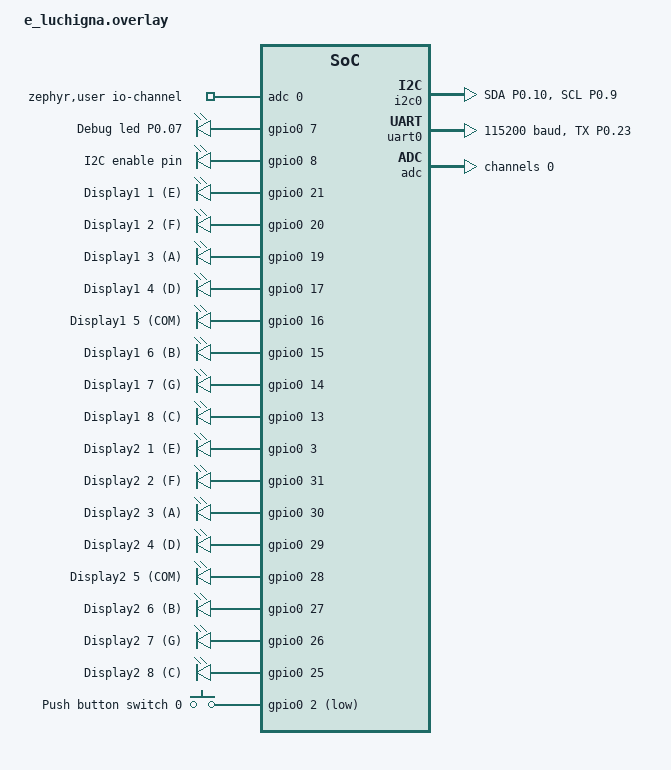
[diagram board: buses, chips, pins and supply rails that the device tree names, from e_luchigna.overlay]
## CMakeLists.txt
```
cmake_minimum_required(VERSION 3.20.0)
find_package(Zephyr REQUIRED HINTS $ENV{ZEPHYR_BASE})

project(gwen-test)

target_sources(app PRIVATE src/main.c)

target_sources(app PRIVATE src/screen.c)
target_sources(app PRIVATE src/button.c)
target_sources(app PRIVATE src/utils.c)

target_include_directories(app PRIVATE src)
```

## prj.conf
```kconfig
# Power management
CONFIG_PM_DEVICE=y

#ADC
CONFIG_ADC=y
CONFIG_ADC_NRFX_SAADC=y

# Pin configs
CONFIG_GPIO=y

# Sensors
CONFIG_I2C=y
CONFIG_SENSOR=y

# enable uart driver / console / log
CONFIG_SERIAL=y
CONFIG_LOG=y
CONFIG_LOG_MODE_IMMEDIATE=y
CONFIG_CONSOLE=y
CONFIG_PINCTRL=y #also needed for i2c etc

# added for uart to function properly
CONFIG_GPIO_AS_PINRESET=y
CONFIG_NFCT_PINS_AS_GPIOS=y
CONFIG_UART_CONSOLE=y
# things needed in prevoius projects
CONFIG_SYSTEM_CLOCK_WAIT_FOR_AVAILABILITY=y


# BLE confs
CONFIG_BT=y
CONFIG_BT_DEBUG_LOG=n
#CONFIG_BT_DEVICE_NAME="Ligna Card 1"
#CONFIG_BT_DEVICE_NAME="SPU 1"
#CONFIG_BT_DEVICE_NAME="Gwen testerzz"
CONFIG_BT_DEVICE_NAME="E-luchigna"
```

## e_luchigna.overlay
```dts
/ {
	zephyr,user {
		io-channels = <&adc 0>;
	};

    chosen {
		zephyr,console = &uart0;
    };


	gpo{
        compatible = "gpio-leds";

        led0: led_0 {
			gpios= <&gpio0 7 GPIO_ACTIVE_HIGH>; // GPIO_ACTIVE_LOW in blinky example
			label= "Debug led P0.07";
		};
		tmpon: tmp_on {
			gpios= <&gpio0 8 GPIO_ACTIVE_HIGH>; 
			label= "I2C enable pin";
		};

		display_11: display_11{
			gpios= <&gpio0 21 GPIO_ACTIVE_HIGH>;
			label= "Display1 1 (E)";
		};
		display_12: display_12{
			gpios= <&gpio0 20 GPIO_ACTIVE_HIGH>;
			label= "Display1 2 (F)";
		};
		display_13: display_13{
			gpios= <&gpio0 19 GPIO_ACTIVE_HIGH>;
			label= "Display1 3 (A)";
		};
		display_14: display_14{
			gpios= <&gpio0 17 GPIO_ACTIVE_HIGH>;
			label= "Display1 4 (D)";
		};
		display_15: display_15{
			gpios= <&gpio0 16 GPIO_ACTIVE_HIGH>;
			label= "Display1 5 (COM)";
		};
		display_16: display_16{
			gpios= <&gpio0 15 GPIO_ACTIVE_HIGH>;
			label= "Display1 6 (B)";
		};
		display_17: display_17{
			gpios= <&gpio0 14 GPIO_ACTIVE_HIGH>;
			label= "Display1 7 (G)";
		};
		display_18: display_18{
			gpios= <&gpio0 13 GPIO_ACTIVE_HIGH>;
			label= "Display1 8 (C)";
		};
		display_21: display_21{
			gpios= <&gpio0 3 GPIO_ACTIVE_HIGH>;
			label= "Display2 1 (E)";
		};
		display_22: display_22{
			gpios= <&gpio0 31 GPIO_ACTIVE_HIGH>;
			label= "Display2 2 (F)";
		};
		display_23: display_23{
			gpios= <&gpio0 30 GPIO_ACTIVE_HIGH>;
			label= "Display2 3 (A)";
		};
		display_24: display_24{
			gpios= <&gpio0 29 GPIO_ACTIVE_HIGH>;
			label= "Display2 4 (D)";
		};
		display_25: display_25{
			gpios= <&gpio0 28 GPIO_ACTIVE_HIGH>;
			label= "Display2 5 (COM)";
		};
		display_26: display_26{
			gpios= <&gpio0 27 GPIO_ACTIVE_HIGH>;
			label= "Display2 6 (B)";
		};
		display_27: display_27{
			gpios= <&gpio0 26 GPIO_ACTIVE_HIGH>;
			label= "Display2 7 (G)";
		};
		display_28: display_28{
			gpios= <&gpio0 25 GPIO_ACTIVE_HIGH>;
			label= "Display2 8 (C)";
		};

    };

	gpi{
		compatible = "gpio-keys";
		button0: button_0 {
			gpios = < &gpio0 2 (GPIO_PULL_UP | GPIO_ACTIVE_LOW)>;
			label = "Push button switch 0";
		};
	};
};



&gpio0 {
    status  = "okay";
};

&gpiote {
    status = "okay";
};


&i2c0 {
	pinctrl-0 = <&i2c0_default>;
	pinctrl-1 = <&i2c0_sleep>;
	pinctrl-names = "default", "sleep";
};

&uart0 {
    status = "okay";
    current-speed = < 0x1c200 >;
    pinctrl-0 = < &uart0_default >;
    pinctrl-1 = < &uart0_sleep >;
    pinctrl-names = "default", "sleep";
};

&pinctrl {    
	status = "okay";
    i2c0_default: i2c0_default {
		group1 {
			psels = <NRF_PSEL(TWIM_SDA, 0, 10)>,
					<NRF_PSEL(TWIM_SCL, 0, 9)>;
		};
	};

	i2c0_sleep: i2c0_sleep {
		group1 {
			psels = <NRF_PSEL(TWIM_SDA, 0, 10)>,
					<NRF_PSEL(TWIM_SCL, 0, 9)>;
			low-power-enable;
		};
	};

	uart0_default: uart0_default {
		group1 {
			psels = <NRF_PSEL(UART_TX, 0, 23)>;
				//<NRF_PSEL(UART_RX, 0, xx)>,
				//<NRF_PSEL(UART_RTS, 0, xx)>,
				//<NRF_PSEL(UART_CTS, 0, xx)>;
		};
	};

	uart0_sleep: uart0_sleep {
		group1 {
			psels = <NRF_PSEL(UART_TX, 0, 23)>;
				//<NRF_PSEL(UART_RX, 0, xx)>,
				//<NRF_PSEL(UART_RTS, 0, xx)>,
				//<NRF_PSEL(UART_CTS, 0, xx)>;
			low-power-enable;
		};
	};
};

&adc {
	#address-cells = <1>;
	#size-cells = <0>;
	channel@0 {
		reg = <0>;
		zephyr,gain = "ADC_GAIN_1_6";
		zephyr,reference = "ADC_REF_INTERNAL";
		zephyr,acquisition-time = <ADC_ACQ_TIME_DEFAULT>;
		zephyr,input-positive = <NRF_SAADC_AIN3>;
		zephyr,resolution = <10>;
		zephyr,oversampling = <0>;
	};
    status = "okay";
};
```

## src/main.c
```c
/*
* Gwen application with ADC + SHT4x + BLE + UART logging
*/

#include <zephyr/kernel.h>
#include <zephyr/drivers/gpio.h>
#include <zephyr/drivers/uart.h>
#include <zephyr/bluetooth/bluetooth.h>
#include <zephyr/bluetooth/hci.h>
#include <zephyr/pm/pm.h>
#include <zephyr/pm/device.h>
#include <zephyr/logging/log.h>
#include <zephyr/drivers/adc.h>
#include <zephyr/devicetree.h>
#include <zephyr/drivers/sensor/sht4x.h>
#include <zephyr/drivers/sensor.h>
#include <stdio.h>
#include "screen.h"
#include "button.h"
#include "utils.h"

LOG_MODULE_REGISTER(my_logger, LOG_LEVEL_DBG);

/* UART device for logging transmitted values */
static const struct device *uart_dev = DEVICE_DT_GET(DT_CHOSEN(zephyr_console));

/* ADC setup */
#if !DT_NODE_EXISTS(DT_PATH(zephyr_user)) || \
    !DT_NODE_HAS_PROP(DT_PATH(zephyr_user), io_channels)
#error "No suitable devicetree overlay specified for ADC"
#endif
#define DT_SPEC_AND_COMMA(node_id, prop, idx) ADC_DT_SPEC_GET_BY_IDX(node_id, idx),
static const struct adc_dt_spec adc_channels[] = {
    DT_FOREACH_PROP_ELEM(DT_PATH(zephyr_user), io_channels, DT_SPEC_AND_COMMA)
};
static int16_t adc_buf;
static struct adc_sequence sequence = {
    .buffer = &adc_buf,
    .buffer_size = sizeof(adc_buf)
};
static uint16_t vcap_mv = 0;

/* SHT4X */
#if !DT_HAS_COMPAT_STATUS_OKAY(sensirion_sht4x)
#error "No sensirion,sht4x compatible node found in the device tree"
#endif
static const struct device *dev = DEVICE_DT_GET_ONE(sensirion_sht4x);

/* GPIOs */
static const struct gpio_dt_spec led = GPIO_DT_SPEC_GET(DT_NODELABEL(led0), gpios);
static const struct gpio_dt_spec temp_on = GPIO_DT_SPEC_GET(DT_NODELABEL(tmpon), gpios);

/* BLE */
#define DEVICE_NAME CONFIG_BT_DEVICE_NAME
#define DEVICE_NAME_LEN (sizeof(DEVICE_NAME) - 1)
#define BLE_ADVERTISE_TIME_MS 3100

static uint16_t mfg_data[5] = {0};
static const struct bt_data ad[] = { BT_DATA(BT_DATA_SVC_DATA16, mfg_data, sizeof(mfg_data)) };
static const struct bt_data sd[] = { BT_DATA(BT_DATA_NAME_COMPLETE, DEVICE_NAME, DEVICE_NAME_LEN) };

/* Function prototypes */
static void bt_ready(int err);
static void ble_advertise(int16_t temp, uint16_t hum);
static int read_adc_mv(uint16_t *vcap_mv);
static void uart_transmit_log(const char *fmt, ...);

/* ---------------- Setup ---------------- */
void setup(void)
{
    /* GPIO init */
    if (!gpio_is_ready_dt(&led)) LOG_ERR("LED GPIO not ready");
    gpio_pin_configure_dt(&led, GPIO_OUTPUT_INACTIVE);

    if (!gpio_is_ready_dt(&temp_on)) LOG_ERR("Temp enable GPIO not ready");
    gpio_pin_configure_dt(&temp_on, GPIO_OUTPUT_ACTIVE);

    initScreenPins();
    setup_pushbutton();

    /* Give SHT4x time to power up */
    k_msleep(50);

    /* ADC channels setup */
    for (size_t i = 0U; i < ARRAY_SIZE(adc_channels); i++) {
        if (!device_is_ready(adc_channels[i].dev)) {
            LOG_ERR("ADC device not ready");
            return;
        }
        int err = adc_channel_setup_dt(&adc_channels[i]);
        if (err < 0) {
            LOG_ERR("ADC channel setup failed (%d)", err);
            return;
        }
    }

    /* Bluetooth init */
    int err = bt_enable(bt_ready);
    if (err) LOG_ERR("Bluetooth init failed (%d)", err);
}



/* ---------------- ADC ---------------- */
int read_adc_mv(uint16_t *vcap_mv)
{
    const struct adc_dt_spec *adc_spec = &adc_channels[0];
    sequence.channels = BIT(adc_spec->channel_id);
    sequence.resolution = adc_spec->resolution ? adc_spec->resolution : 12;
    sequence.oversampling = 0;

    if (!device_is_ready(adc_spec->dev)) return -ENODEV;
    int err = adc_read(adc_spec->dev, &sequence);
    if (err < 0) return err;

    int32_t val_mv = adc_buf;
    err = adc_raw_to_millivolts_dt(adc_spec, &val_mv);
    *vcap_mv = (err < 0) ? (uint16_t)adc_buf : (uint16_t)val_mv;

    pm_device_action_run(adc_spec->dev, PM_DEVICE_ACTION_SUSPEND);
    return 0;
}

/* ---------------- BLE ---------------- */
static void bt_ready(int err)
{
    if (err) {
        LOG_ERR("Bluetooth init failed (%d)", err);
        return;
    }
    LOG_INF("Bluetooth initialized");
}

void ble_advertise(int16_t temp, uint16_t hum)
{
    mfg_data[1] = temp;
    mfg_data[2] = hum;
    mfg_data[3] = vcap_mv;

    /* UART log of transmitted values */
    uart_transmit_log("BLE transmit: Temp=%d, Hum=%d, Vcap=%d mV\r\n", temp, hum, vcap_mv);

    int err = bt_le_adv_start(BT_LE_ADV_PARAM(BT_LE_ADV_OPT_USE_IDENTITY,
                                              BT_GAP_ADV_SLOW_INT_MIN,
                                              BT_GAP_ADV_SLOW_INT_MAX,
                                              NULL),
                              ad, ARRAY_SIZE(ad), sd, ARRAY_SIZE(sd));
    if (err) {
        LOG_ERR("Advertising start failed (%d)", err);
        return;
    }

    sleep_mcu(BLE_ADVERTISE_TIME_MS);

    err = bt_le_adv_stop();
    if (err) LOG_ERR("Advertising stop failed (%d)", err);
}

/* ---------------- UART helper ---------------- */
#include <stdarg.h>
static void uart_transmit_log(const char *fmt, ...)
{
    if (!uart_dev || !device_is_ready(uart_dev)) return;

    char buf[128];
    va_list args;
    va_start(args, fmt);
    int len = vsnprintf(buf, sizeof(buf), fmt, args);
    va_end(args);

    if (len > 0) {
        for (int i = 0; i < len; i++) {
            uart_poll_out(uart_dev, buf[i]);
        }
    }
}

/* ---------------- Main Loop ---------------- */
#define SLEEP_TIME_MS 10000
//#define ADC_MEASURE_INTERVAL_MS 300000   // 5 minutes
//#define ADC_MEASURE_INTERVAL_MS 60000 // 1 minute
#define ADC_MEASURE_INTERVAL_MS 0

void main(void)
{
    LOG_DBG("Jiva board started");
    setup();

    gpio_pin_set_dt(&led,1);
    gpio_pin_set_dt(&temp_on,1);
    sleep_mcu(100);
    LOG_DBG("LED 0");
    gpio_pin_set_dt(&led,0);

    int64_t last_adc_time = 0;
    struct sensor_value temp, hum;
    int16_t temp_as_int;
    uint16_t hum_as_uint;

    /* Voltage divider constants */
    const float Rtop = 1.0f;   // MΩ
    const float Rbot = 10.0f;  // MΩ
    const float divider_factor = (Rtop + Rbot) / Rbot; // 11/10 = 1.1

    while (1)
    {
        int64_t now = k_uptime_get();

        /* ---------- ADC every 5 minutes ---------- */
        if (now - last_adc_time >= ADC_MEASURE_INTERVAL_MS) {
            int rc = read_adc_mv(&vcap_mv);
            if (rc < 0) LOG_ERR("ADC read failed (%d)", rc);
            else {
                /* Convert ADC voltage back to actual supercap voltage */
                float vcap_actual = vcap_mv * divider_factor;
                vcap_mv = (uint16_t)(vcap_actual + 0.5f); // round to nearest mV
                uart_transmit_log("ADC read: Supercap=%d mV\r\n", vcap_mv);
            }
            last_adc_time = now;
        }

        /* ---------- Temp/Humidity ---------- */
        int rc = sensor_sample_fetch(dev);
        if (rc == 0) rc = sensor_channel_get(dev, SENSOR_CHAN_AMBIENT_TEMP, &temp);
        if (rc == 0) rc = sensor_channel_get(dev, SENSOR_CHAN_HUMIDITY, &hum);
        if (rc != 0) LOG_ERR("Temp/hum sensor failed (%d)", rc);

        temp_as_int = (int16_t)(sensor_value_to_double(&temp) * 10);
        hum_as_uint = (uint16_t)(sensor_value_to_double(&hum) * 10);

        uart_transmit_log("Temp/Hum read: Temp=%d, Hum=%d\r\n", temp_as_int, hum_as_uint);

        switch (get_current_state())
        {
        case SHOW_TEMP:
            updateScreen((int)(sensor_value_to_double(&temp) + 0.5), false); // add 0.5 for rounding
            break;
        case SHOW_TEMP_UPSIDE_DOWN:
            updateScreen((int)(sensor_value_to_double(&temp) + 0.5), true); // add 0.5 for rounding
            break;
        case SHOW_HUM:
            updateScreen((int)(sensor_value_to_double(&hum) + 0.5), false); // add 0.5 for rounding
            break;
        case SHOW_HUM_UPSIDE_DOWN:
            updateScreen((int)(sensor_value_to_double(&hum) + 0.5), true); // add 0.5 for rounding
            break;
        default:
            updateScreen((int)(sensor_value_to_double(&temp) + 0.5), false); // add 0.5 for rounding
            break;
        }

        /* ---------- BLE advertise ---------- */
        ble_advertise(temp_as_int, hum_as_uint);

        /* ---------- Sleep ---------- */
        sleep_mcu(SLEEP_TIME_MS);
    }
}
```

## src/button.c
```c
#include "button.h"


static const struct gpio_dt_spec button = GPIO_DT_SPEC_GET(DT_NODELABEL(button0), gpios);
static struct gpio_callback button_cb_data;

static enum state current_state = SHOW_TEMP;  


enum state get_current_state(){
    return current_state;
}


void setup_pushbutton(){
    int ret;

    /* 1. Check if hardware is ready */
    if (!gpio_is_ready_dt(&button)) {
        return 0;
    }

    /* 2. Configure the GPIO pin */
    ret = gpio_pin_configure_dt(&button, GPIO_INPUT);
    
    /* 3. Initialize the callback structure with your function */
    gpio_init_callback(&button_cb_data, button_pressed, BIT(button.pin));
    
    /* 4. Add the callback to the GPIO driver */
    gpio_add_callback(button.port, &button_cb_data);

    /* 5. Configure the interrupt type (Edge-to-Active) */
    ret = gpio_pin_interrupt_configure_dt(&button, GPIO_INT_EDGE_TO_ACTIVE);
}

void button_pressed(const struct device *dev, struct gpio_callback *cb, uint32_t pins)
{
    current_state = (current_state + 1) % STATE_COUNT;
}
```

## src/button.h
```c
#include <stdint.h>
#include <zephyr/kernel.h>
#include <zephyr/drivers/gpio.h>
#include <zephyr/pm/pm.h>
#include <zephyr/pm/device.h>
#include <zephyr/logging/log.h>
#include <zephyr/devicetree.h>
#include <stdio.h>

enum state {
  SHOW_TEMP = 0,
  SHOW_TEMP_UPSIDE_DOWN = 1,
  SHOW_HUM = 2,
  SHOW_HUM_UPSIDE_DOWN = 3,
  STATE_COUNT // Always keep this last
};

/* Public functions*/
enum state get_current_state();
void setup_pushbutton();

/* Internal functions */
void button_pressed(const struct device *dev, struct gpio_callback *cb, uint32_t pins);
```

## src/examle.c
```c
#include <zephyr/kernel.h>
#include <nrfx_pwm.h>
#include <hal/nrf_gpio.h>

#define COM_PIN      17
#define SEG_1_PIN    12  
#define SEG_2_PIN    13  
#define SEG_3_PIN    14  
#define SEG_4_PIN    15  
#define SEG_5_PIN    16  
#define SEG_6_PIN    18  
#define SEG_7_PIN    19  


uint8_t SEGMENTS[7] = {SEG_1_PIN, SEG_2_PIN, SEG_3_PIN, SEG_4_PIN, SEG_5_PIN, SEG_6_PIN, SEG_7_PIN};    

// Not used yet, but will be useful in the future to translate digits to segments

uint8_t NUMBER_TO_SEGMENTS[17] = {

        0b00111111, // 0 - ABCDEF
        0b00000110, // 1 - BC
        0b01011011, // 2 - ABGED
        0b01001111, // 3 - ABGCD
        0b01100110, // 4 - FGBC
        0b01101101, // 5 - AFGCD
        0b01111101, // 6 - AFGECD
        0b00000111, // 7 - ABC
        0b01111111, // 8 - ABCDEFG
        0b01101111, // 9 - ABCDFG
        0b01110111, // A - ABCEFG
        0b01111100, // B - FGECD
        0b00111001, // C - AFED
        0b01011110, // D - BCDEG
        0b01111001, // E - AFGED
        0b01110001, // F - AFGE
        0b00000000, // OFF
};

void set_all_segments(bool active) {
        for (int i = 0; i < 7; i++) {
                nrf_gpio_cfg_output(SEGMENTS[i]);
                nrf_gpio_pin_write(SEGMENTS[i], active);
        }
}

void set_single_segment(uint8_t segment, bool active) {
        uint8_t seg = SEGMENTS[segment];
        nrf_gpio_cfg_output(seg);
        nrf_gpio_pin_write(seg, active);
}

void hold_all_segments(){
        for (int i = 0; i < 7; i++) {
                nrf_gpio_cfg_default(SEGMENTS[i]);
        }
}

void hold_single_segment(uint8_t segment) {
        uint8_t seg = SEGMENTS[segment];
        nrf_gpio_cfg_default(seg);
}

 

void main(void) {
        // Tie COM pin to GND, and it should not be SET anywhere
        nrf_gpio_cfg_output(COM_PIN);    
        nrf_gpio_pin_write(COM_PIN, 0);

        while (1) {
                // STEP 1: Activation Pulse (0V COM, 3.3V SEG) for 1.5s to drive color deep
                set_all_segments(true);
                k_msleep(1500);

                // STEP 2: Hold 3000ms
                hold_all_segments();
                k_msleep(3000);

                /* --- ACTION: OFF  --- */
                // Short both sides to 0V
                set_all_segments(false);
                k_msleep(3000);

                // show one segment at a time, from A to G
                for (int i = 0; i < 7; i++) {
                        // STEP 3: Activation Pulse (0V COM, 3.3V SEG) for 1.5s to drive color deep
                        set_single_segment(i, true);
                        k_msleep(1500);

                        // STEP 4: Hold 3000ms
                        hold_single_segment(i);
                        k_msleep(3000);

                        /* --- ACTION: OFF  --- */
                        // Short both sides to 0V
                        set_single_segment(i, false);
                        k_msleep(3000);
                }
        }
}
```

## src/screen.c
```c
#include "screen.h"
#include "utils.h"

#define REFRESH_TIME 100
#define TURN_ON_TIME 1500
#define TURN_OFF_TIME 1500


#if DT_NODE_EXISTS(DT_NODELABEL(display_11))
    // Only run this if the overlay is actually present
    #define HARDWARE_CONNECTED 1
#else
    // Fallback or do nothing for unit tests
#endif

#if HARDWARE_CONNECTED
LOG_MODULE_REGISTER(screen_logger, LOG_LEVEL_DBG);

//#define DISPLAY_11 DT_NODELABEL(display_11)
//static const struct gpio_dt_spec led = GPIO_DT_SPEC_GET(DT_NODELABEL(led0), gpios);
static const struct gpio_dt_spec display_15 = GPIO_DT_SPEC_GET(DT_NODELABEL(display_11), gpios);
static const struct gpio_dt_spec display_25 = GPIO_DT_SPEC_GET(DT_NODELABEL(display_11), gpios);


// tens syftar på tiotals-siffran
// units syftar på entals-siffran
static const struct gpio_dt_spec display_channels_units[] = { 
		GPIO_DT_SPEC_GET(DT_NODELABEL(display_11), gpios),
        GPIO_DT_SPEC_GET(DT_NODELABEL(display_12), gpios),
		GPIO_DT_SPEC_GET(DT_NODELABEL(display_13), gpios),
		GPIO_DT_SPEC_GET(DT_NODELABEL(display_14), gpios),
		//GPIO_DT_SPEC_GET(DT_NODELABEL(display_15), gpios), // exclude com port
		GPIO_DT_SPEC_GET(DT_NODELABEL(display_16), gpios),
		GPIO_DT_SPEC_GET(DT_NODELABEL(display_17), gpios),
		GPIO_DT_SPEC_GET(DT_NODELABEL(display_18), gpios),
	};

static const struct gpio_dt_spec display_channels_tens[] = { 
		GPIO_DT_SPEC_GET(DT_NODELABEL(display_21), gpios),
        GPIO_DT_SPEC_GET(DT_NODELABEL(display_22), gpios),
		GPIO_DT_SPEC_GET(DT_NODELABEL(display_23), gpios),
		GPIO_DT_SPEC_GET(DT_NODELABEL(display_24), gpios),
		//GPIO_DT_SPEC_GET(DT_NODELABEL(display_25), gpios), // exclude com port
		GPIO_DT_SPEC_GET(DT_NODELABEL(display_26), gpios),
		GPIO_DT_SPEC_GET(DT_NODELABEL(display_27), gpios),
		GPIO_DT_SPEC_GET(DT_NODELABEL(display_28), gpios),
	};
#endif


    // 0b0GFEDCBA
enum pin_segments {
    SEGMENT_A = 0b00000001, // A
    SEGMENT_B = 0b00000010, // B
    SEGMENT_C = 0b00000100, // C
    SEGMENT_D = 0b00001000, // D
    SEGMENT_E = 0b01000100, // E
    SEGMENT_F = 0b00010000, // F
    SEGMENT_G = 0b00100100, // G
};


// matches order of gpios EFAD COM BGC
static const uint8_t segment_map[] = {
    SEGMENT_E, SEGMENT_F,SEGMENT_A, SEGMENT_D, SEGMENT_B, SEGMENT_G, SEGMENT_C
};


enum digit_segments {
    SEG7_ZERO  = 0b00111111, // 0
    SEG7_ONE   = 0b00000110, // 1
    SEG7_TWO   = 0b01011011, // 2
    SEG7_THREE = 0b01001111, // 3
    SEG7_FOUR  = 0b01100110, // 4
    SEG7_FIVE  = 0b01101101, // 5
    SEG7_SIX   = 0b01111101, // 6
    SEG7_SEVEN = 0b00000111, // 7
    SEG7_EIGHT = 0b01111111, // 8
    SEG7_NINE  = 0b01101111, // 9
    SEG7_A     = 0b01110111, // A
    SEG7_B     = 0b01111100, // b (lowercase for readability)
    SEG7_C     = 0b00111001, // C
    SEG7_D     = 0b01011110, // d (lowercase for readability)
    SEG7_E     = 0b01111001, // E
    SEG7_F     = 0b01110001, // F
    SEG7_OFF   = 0b00000000  // All segments off
};

enum digit_segments_upside_down {
    UD_SEG7_ZERO  = 0b00111111, // 0
    UD_SEG7_ONE   = 0b00110000, // 1
    UD_SEG7_TWO   = 0b01011011, // 2
    UD_SEG7_THREE = 0b01111001, // 3
    UD_SEG7_FOUR  = 0b01110100, // 4
    UD_SEG7_FIVE  = 0b01101101, // 5
    UD_SEG7_SIX   = 0b01101111, // 6
    UD_SEG7_SEVEN = 0b00111000, // 7
    UD_SEG7_EIGHT = 0b01111111, // 8
    UD_SEG7_NINE  = 0b01111101, // 9
    UD_SEG7_A     = 0b01111110, // A
    UD_SEG7_B     = 0b01100111, // b (lowercase for readability)
    UD_SEG7_C     = 0b00001111, // C
    UD_SEG7_D     = 0b01111001, // d (lowercase for readability)
    UD_SEG7_E     = 0b01001111, // E
    UD_SEG7_F     = 0b01001110, // F
    UD_SEG7_OFF      = 0b00000000  // All segments off
};


static const seg7_pattern_t hex_map[] = {
    SEG7_ZERO, SEG7_ONE, SEG7_TWO, SEG7_THREE,
    SEG7_FOUR, SEG7_FIVE, SEG7_SIX, SEG7_SEVEN,
    SEG7_EIGHT, SEG7_NINE, SEG7_A, SEG7_B,
    SEG7_C, SEG7_D, SEG7_E, SEG7_F
};

static const seg7_pattern_t ud_hex_map[] = {
    UD_SEG7_ZERO, UD_SEG7_ONE, UD_SEG7_TWO, UD_SEG7_THREE,
    UD_SEG7_FOUR, UD_SEG7_FIVE, UD_SEG7_SIX, UD_SEG7_SEVEN,
    UD_SEG7_EIGHT, UD_SEG7_NINE, UD_SEG7_A, UD_SEG7_B,
    UD_SEG7_C, UD_SEG7_D, UD_SEG7_E, UD_SEG7_F
};


seg7_pattern_t current_tens; 
seg7_pattern_t current_units; 


/**
 * @brief Get segment pattern for a hex nibble (0-15)
 */
seg7_pattern_t get_segment_data(uint8_t nibble, bool upside_down) {
    if (nibble > 0xF) {
        return SEG7_OFF;
    }
    if(upside_down){
        return ud_hex_map[nibble];
    }
    return hex_map[nibble];
}


/**
 * @brief Extract tens and units digits from a number.
 *
 * @param number The input number (0-99).
 * @param digit_tens Pointer to store the tens digit.
 * @param digit_units Pointer to store the units digit.
 */
void extract_digits(uint8_t number, uint8_t *digit_tens, uint8_t *digit_units) {
    if (number > 99) {
        *digit_tens = 0;
        *digit_units = 0;
        return;
    }
    *digit_tens = number / 10;
    *digit_units = number % 10;
}

seg7_pattern_t bitsToRefresh(seg7_pattern_t current, seg7_pattern_t new) {
    return current & new;
}

seg7_pattern_t bitsToTurnOn(seg7_pattern_t current, seg7_pattern_t new) {
    return ~current & new;
}

seg7_pattern_t bitsToTurnOff(seg7_pattern_t current, seg7_pattern_t new) {
    return current & ~new;
}

#if HARDWARE_CONNECTED
void updateScreen(int value, bool upside_down){
    LOG_INF("Entering Update sccren");
    uint8_t digit_tens;
    uint8_t digit_units;
    extract_digits(value, &digit_tens, &digit_units);
    seg7_pattern_t display_tens = get_segment_data(digit_tens,upside_down);
    seg7_pattern_t display_units = get_segment_data(digit_units,upside_down);

    seg7_pattern_t refresh_tens = bitsToRefresh(current_tens, display_tens);
    seg7_pattern_t turn_on_tens = bitsToTurnOn(current_tens, display_tens);
    seg7_pattern_t turn_off_tens = bitsToTurnOff(current_tens, display_tens);

    seg7_pattern_t refresh_units = bitsToRefresh(current_units, display_units);
    seg7_pattern_t turn_on_units = bitsToTurnOn(current_units, display_units);
    seg7_pattern_t turn_off_units = bitsToTurnOff(current_units, display_units);

    LOG_INF("Starting turning off pins");
    turnOffPins(display_channels_tens, turn_off_tens);
    turnOffPins(display_channels_units, turn_off_units);

    LOG_INF("Starting turning on pins");
    turnOnPins(display_channels_tens, turn_on_tens);
    turnOnPins(display_channels_units, turn_on_units);
    sleep_mcu(TURN_ON_TIME);
    disconnectPins(display_channels_tens,turn_on_tens);
    disconnectPins(display_channels_units,turn_on_units);
    LOG_INF("Finished turning on pins");

     //Turning off takes some additional time than turning on. Working with timers/interrupts might be better solution
    sleep_mcu(TURN_OFF_TIME);
    disconnectPins(display_channels_tens,turn_off_tens);
    disconnectPins(display_channels_units,turn_off_units);
    LOG_INF("Finished turning off pins");

    LOG_INF("Starting refreshing pins");
    refreshPins(display_channels_tens, refresh_tens);
    refreshPins(display_channels_units, refresh_units);
    sleep_mcu(REFRESH_TIME);
    disconnectPins(display_channels_tens,refresh_tens);
    disconnectPins(display_channels_units,refresh_units);
    LOG_INF("Finished refreshing pins");

    current_units = display_units;
    current_tens = display_tens;
    LOG_INF("Exiting Update sccren");

}

void initScreenPins(){
    if (!gpio_is_ready_dt(&display_15)) LOG_ERR("COM GPIO units not ready");
    gpio_pin_configure_dt(&display_15, GPIO_OUTPUT_INACTIVE);
    if (!gpio_is_ready_dt(&display_25)) LOG_ERR("COM GPIO tens not ready");
    gpio_pin_configure_dt(&display_25, GPIO_OUTPUT_INACTIVE);

    turnOffPins(display_channels_tens, 0b01111111);
    turnOffPins(display_channels_units, 0b01111111);

}

void refreshPins(const struct gpio_dt_spec *hardware_pins, seg7_pattern_t refresh_pins){
    for(int i=0; i<6;i++){
        if(segment_map[i] & refresh_pins){
			gpio_pin_configure_dt(&hardware_pins[i], GPIO_OUTPUT_ACTIVE);
        }
    }
}

void turnOffPins(const struct gpio_dt_spec *hardware_pins, seg7_pattern_t turn_off_pins){
    for(int i=0; i<6;i++){
        if(segment_map[i] & turn_off_pins){
			gpio_pin_configure_dt(&hardware_pins[i], GPIO_OUTPUT_INACTIVE);
        }
    }
}

void turnOnPins(const struct gpio_dt_spec *hardware_pins, seg7_pattern_t turn_on_pins){
    for(int i=0; i<6;i++){
        if(segment_map[i] & turn_on_pins){
			gpio_pin_configure_dt(&hardware_pins[i], GPIO_OUTPUT_ACTIVE);
        }
    }
}

void disconnectPins(const struct gpio_dt_spec *hardware_pins, seg7_pattern_t filter ){
    for(int i=0; i<6;i++){
         if(segment_map[i] & filter){
			gpio_pin_configure_dt(&hardware_pins[i], GPIO_DISCONNECTED);
         }
    }
}
#endif
```

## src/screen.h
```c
#ifndef SCREEN_H
#define SCREEN_H

#include <stdint.h>
#include <zephyr/kernel.h>
#include <zephyr/drivers/gpio.h>
#include <zephyr/pm/pm.h>
#include <zephyr/pm/device.h>
#include <zephyr/logging/log.h>
#include <zephyr/devicetree.h>
#include <stdio.h>


typedef uint8_t seg7_pattern_t;


/* Functions to call from main.c */
void updateScreen(int value, bool upside_down);
void initScreenPins();

/* Internal functions */
seg7_pattern_t get_segment_data(uint8_t nibble, bool upside_down);

void extract_digits(uint8_t number, uint8_t *digit_tens, uint8_t *digit_units);

seg7_pattern_t bitsToRefresh(seg7_pattern_t current, seg7_pattern_t new);
seg7_pattern_t bitsToTurnOn(seg7_pattern_t current, seg7_pattern_t new);
seg7_pattern_t bitsToTurnOff(seg7_pattern_t current, seg7_pattern_t new);

void refreshPins(const struct gpio_dt_spec *hardware_pins, seg7_pattern_t refresh_pins);
void turnOffPins(const struct gpio_dt_spec  *hardware_pins, seg7_pattern_t turn_off_pins);
void turnOnPins(const struct gpio_dt_spec  *hardware_pins, seg7_pattern_t turn_on_pins);
void disconnectPins(const struct gpio_dt_spec  *hardware_pins, seg7_pattern_t filter);

#endif /* SCREEN_H */
```

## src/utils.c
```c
#include "utils.h"

/* Console for low-power suspend/resume */
#if CONFIG_SERIAL
static const struct device *cons = DEVICE_DT_GET(DT_CHOSEN(zephyr_console));
#endif

/* ---------------- Sleep ---------------- */
int sleep_mcu(int32_t ms)
{
#if CONFIG_SERIAL
    pm_device_action_run(cons, PM_DEVICE_ACTION_SUSPEND);
#endif
    k_msleep(ms);
#if CONFIG_SERIAL
    pm_device_action_run(cons, PM_DEVICE_ACTION_RESUME);
#endif
return 0;
};
```

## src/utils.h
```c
#include <zephyr/kernel.h>
#include <zephyr/drivers/gpio.h>
#include <zephyr/drivers/uart.h>
#include <zephyr/pm/pm.h>
#include <zephyr/pm/device.h>
#include <zephyr/logging/log.h>
#include <zephyr/devicetree.h>

int sleep_mcu(int32_t ms);
```
